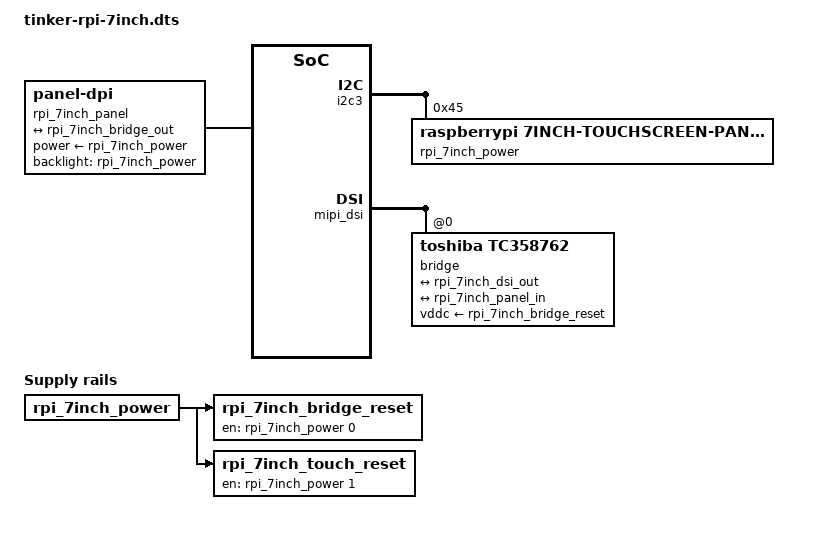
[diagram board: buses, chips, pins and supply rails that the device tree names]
// The official Raspberry Pi 7-inch DSI touchscreen on the ASUS Tinker Board S, with the same drivers the Raspberry Pi
// uses: the screen's control chip (an ATtiny at 0x45 on I2C bus 3) gives power, backlight and two reset lines; the
// TC358762 bridge turns the board's DSI output into the panel's signal; the panel entry has its exact timings.
// Touch is read by nestor_touch.py (the screen has no interrupt wire for Linux's touch driver).
/dts-v1/;
/plugin/;

&{/} {
	// The panel itself (800 x 480), powered and lit by the control chip, at 27.0 MHz (a clock the board makes exactly;
	// the DSI link then runs at exactly 27.0 x 24 = 648 Mbit/s, which the bridge needs, see
	// board/rockchip-dsi-exact-non-burst-rate.patch). ASUS's widths left the picture 20 pixels too far left, so the
	// back porch is 20 longer and the front porch 20 shorter (same line length)
	rpi_7inch_panel: panel-rpi-7inch {
		compatible = "panel-dpi";
		power-supply = <&rpi_7inch_power>;
		backlight = <&rpi_7inch_power>;
		width-mm = <154>;
		height-mm = <86>;
		data-mapping = "rgb24";

		panel-timing {
			clock-frequency = <27000000>;
			hactive = <800>;
			vactive = <480>;
			hfront-porch = <50>;
			hsync-len = <20>;
			hback-porch = <46>;
			vfront-porch = <7>;
			vsync-len = <2>;
			vback-porch = <21>;
			hsync-active = <0>;
			vsync-active = <0>;
			de-active = <1>;
			pixelclk-active = <1>;
		};

		port {
			rpi_7inch_panel_in: endpoint {
				remote-endpoint = <&rpi_7inch_bridge_out>;
			};
		};
	};

	// Releases the bridge from reset once the screen has power (the bridge's driver switches this on)
	rpi_7inch_bridge_reset: regulator-rpi-7inch-bridge {
		compatible = "regulator-fixed";
		regulator-name = "rpi_7inch_bridge";
		gpio = <&rpi_7inch_power 0 0>;
		enable-active-high;
		vin-supply = <&rpi_7inch_power>;
	};

	// Releases the touch chip from reset, always (nestor_touch.py reads it)
	rpi_7inch_touch_reset: regulator-rpi-7inch-touch {
		compatible = "regulator-fixed";
		regulator-name = "rpi_7inch_touch";
		gpio = <&rpi_7inch_power 1 0>;
		enable-active-high;
		vin-supply = <&rpi_7inch_power>;
		regulator-always-on;
	};
};

// The screen's control chip on I2C bus 3 (switched on here)
&i2c3 {
	status = "okay";
	#address-cells = <1>;
	#size-cells = <0>;

	rpi_7inch_power: regulator@45 {
		compatible = "raspberrypi,7inch-touchscreen-panel-regulator";
		reg = <0x45>;
		gpio-controller;
		#gpio-cells = <2>;
	};
};

// The DSI output (switched on here) with the bridge on it
&mipi_dsi {
	status = "okay";
	#address-cells = <1>;
	#size-cells = <0>;

	bridge@0 {
		compatible = "toshiba,tc358762";
		reg = <0>;
		vddc-supply = <&rpi_7inch_bridge_reset>;

		ports {
			#address-cells = <1>;
			#size-cells = <0>;

			port@0 {
				reg = <0>;

				rpi_7inch_bridge_in: endpoint {
					remote-endpoint = <&rpi_7inch_dsi_out>;
				};
			};

			port@1 {
				reg = <1>;

				rpi_7inch_bridge_out: endpoint {
					remote-endpoint = <&rpi_7inch_panel_in>;
				};
			};
		};
	};
};

// Connect the DSI output to the bridge
&mipi_out {
	rpi_7inch_dsi_out: endpoint {
		remote-endpoint = <&rpi_7inch_bridge_in>;
	};
};
